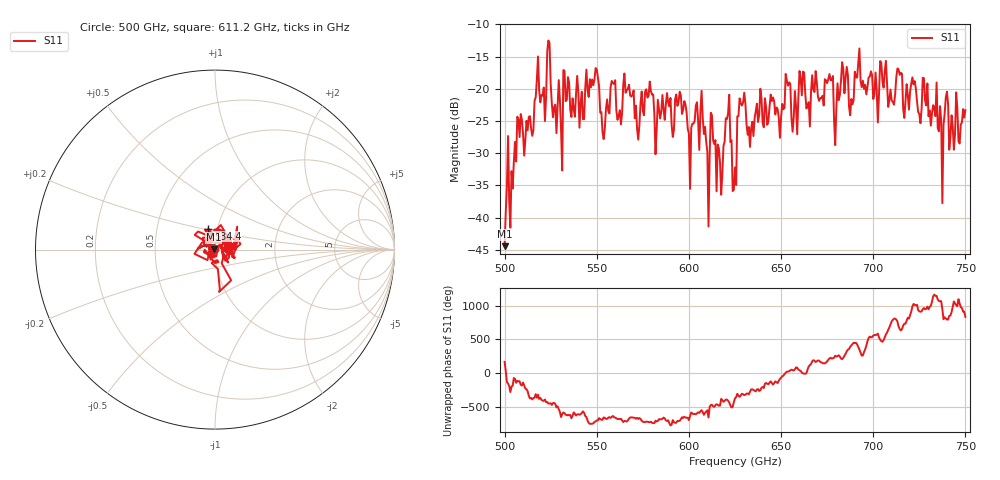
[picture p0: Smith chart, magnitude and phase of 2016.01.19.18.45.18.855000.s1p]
!Created with skrf (http://scikit-rf.org).
# GHz S RI R 50.0
!freq ReS11 ImS11
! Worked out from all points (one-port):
!   401 points, 500 GHz to 750 GHz, reference 50 ohm
!   lowest |S11| = -44.4 dB at 500 GHz (marker M1), VSWR 1.01, Z = 49.4 + j0.102 ohm
!   |S11| at or under -10 dB: start of sweep to end of sweep
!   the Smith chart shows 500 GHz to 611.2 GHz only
!   S11 on the Smith chart (normalised r, x): 500 GHz: 0.99, +0.00; 534.4 GHz: 0.90, +0.22; 611.2 GHz: 0.96, -0.04
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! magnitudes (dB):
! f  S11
! 500 GHz  -44.4
! 508.1 GHz  -27.5
! 517.5 GHz  -18.6
! 523.8 GHz  -12.5
! 526.9 GHz  -22.8
! 531.2 GHz  -32.7
! 534.4 GHz  -18.2
! 550 GHz  -17.0
! 553.1 GHz  -26.7
! 558.8 GHz  -19.1
! 562.5 GHz  -23.3
! 565.6 GHz  -20.6
! 593.8 GHz  -22.6
! 611.2 GHz  -30.3
! 618.1 GHz  -33.2
! 621.2 GHz  -23.8
! 625 GHz  -32.2
! 628.8 GHz  -22.6
! 632.5 GHz  -25.9
! 653.8 GHz  -19.5
! 656.2 GHz  -26.7
! 661.2 GHz  -21.0
! 687.5 GHz  -24.1
! 691.2 GHz  -18.3
! 718.8 GHz  -21.0
! 728.1 GHz  -21.8
! 736.2 GHz  -22.7
! 750 GHz  -23.3
